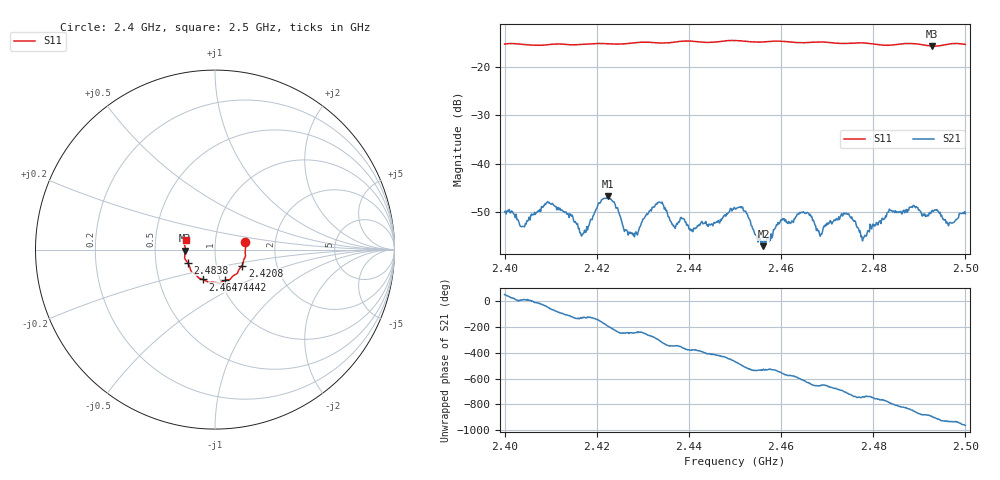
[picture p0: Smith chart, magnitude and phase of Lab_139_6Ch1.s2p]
# Hz S RI R 50
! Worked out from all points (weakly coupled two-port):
!   601 points, 2.4 GHz to 2.5 GHz, reference 50 ohm
!   highest |S21| = -46.71 dB at 2.4223 GHz (marker M1); lowest = -57.1 dB at 2.4562 GHz (marker M2)
!   lowest |S11| = -15.6 dB at 2.4928 GHz (marker M3), VSWR 1.40, Z = 35.8 - j0.423 ohm
!   |S11| at or under -10 dB: start of sweep to end of sweep
!   S12 and S22 are empty: the file has one direction only
!   S11 on the Smith chart (normalised r, x): 2.4 GHz: 1.40, +0.12; 2.4208 GHz: 1.33, -0.24; 2.4442 GHz: 1.05, -0.37; 2.4647 GHz: 0.83, -0.29; 2.4838 GHz: 0.73, -0.11; 2.5 GHz: 0.71, +0.08
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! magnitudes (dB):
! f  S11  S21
! 2.4 GHz  -15.2  -50.0
! 2.4038 GHz  -15.3  -53.1
! 2.4098 GHz  -15.3  -48.3
! 2.4167 GHz  -15.3  -55.0
! 2.4208 GHz  -15.1  -48.0
! 2.4223 GHz  -15.1  -46.7
! 2.4277 GHz  -15.0  -54.4
! 2.4333 GHz  -15.0  -48.1
! 2.4367 GHz  -14.8  -53.1
! 2.4442 GHz  -14.9  -53.1
! 2.45 GHz  -14.5  -49.3
! 2.4562 GHz  -14.8  -57.1
! 2.4647 GHz  -14.9  -50.2
! 2.4667 GHz  -14.8  -51.0
! 2.4685 GHz  -14.8  -55.1
! 2.4742 GHz  -15.1  -50.3
! 2.4778 GHz  -15.0  -55.5
! 2.4833 GHz  -15.5  -50.1
! 2.4838 GHz  -15.4  -49.7
! 2.4928 GHz  -15.6  -49.7
! 2.4967 GHz  -15.2  -52.2
! 2.5 GHz  -15.3  -50.4
